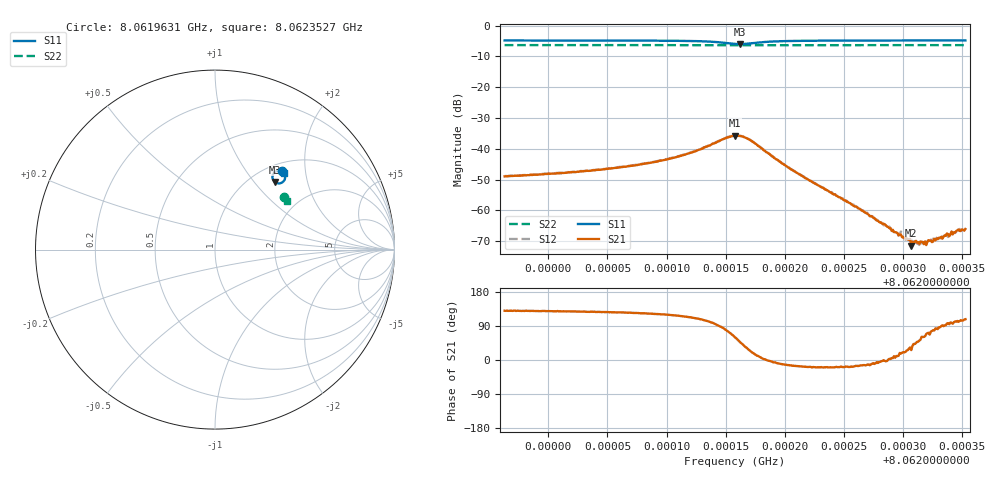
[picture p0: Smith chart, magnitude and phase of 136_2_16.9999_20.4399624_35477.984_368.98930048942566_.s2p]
#  HZ  S  RI  R  50.00
! Rohde & Schwarz Vector Network Analyzer
! Rohde-Schwarz,ZNB20-2Port,1311601062101988,3.16
! Created: UTC 3/20/2024, 10:58:09 PM
! freq[Hz]  re:S11  im:S11  re:S21  im:S21  re:S12  im:S12  re:S22  im:S22
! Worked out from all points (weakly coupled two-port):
!   401 points, 8.0619631 GHz to 8.0623527 GHz, reference 50 ohm
!   highest |S21| = -35.68 dB at 8.0621579 GHz (marker M1); lowest = -71.4 dB at 8.0623069 GHz (marker M2)
!   lowest |S11| = -6.0 dB at 8.0621618 GHz (marker M3), VSWR 3.02, Z = 63.5 + j64.2 ohm
!   |S11| at or under -10 dB: nowhere
!   |S22| runs from -6.4 to -6.3 dB; largest |S21 - S12| = 0.0012
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8.06196309e9  0.3738 0.4376  -0.00229 0.00274  -0.00214 0.00293  0.3868 0.2909
8.06202834e9  0.3798 0.4317  -0.00263 0.00341  -0.00246 0.00361  0.389 0.2876
8.06206535e9  0.3838 0.4267  -0.00294 0.00419  -0.00275 0.00443  0.3902 0.2856
8.0620936e9  0.3875 0.4201  -0.00328 0.00544  -0.00298 0.00571  0.3912 0.284
8.06212282e9  0.3911 0.4054  -0.00323 0.00834  -0.00273 0.00862  0.3921 0.282
8.06214911e9  0.3723 0.373  0.00212 0.0146  0.00314 0.0145  0.3915 0.2798
8.06215788e9  0.3452 0.3705  0.00826 0.0142  0.00922 0.0138  0.3906 0.2797
8.06216177e9  0.3324 0.3774  0.0107 0.0122  0.0116 0.0116  0.3903 0.2799
8.06217151e9  0.3203 0.4078  0.0126 0.00507  0.0129 0.00437  0.3906 0.2809
8.06219878e9  0.3494 0.4394  0.00553 -0.00112  0.00552 -0.00144  0.3931 0.2807
8.06222313e9  0.3634 0.439  0.00273 -0.000965  0.00275 -0.00109  0.3945 0.2792
8.06226501e9  0.3741 0.4352  0.000962 -0.000244  0.000947 -0.000322  0.3962 0.2769
8.06228839e9  0.3776 0.4333  0.000515 2.86e-05  0.000546 -1.55e-05  0.397 0.2757
8.0622991e9  0.3789 0.4324  0.000349 0.000121  0.0004 9.21e-05  0.3975 0.2752
8.06230202e9  0.3794 0.4322  0.00032 0.000125  0.000315 0.000119  0.3975 0.2751
8.06230397e9  0.3795 0.4322  0.000307 0.00015  0.000304 0.000141  0.3976 0.2749
8.06230689e9  0.3799 0.4318  0.000242 0.000118  0.000284 0.000189  0.3976 0.2749
8.06231176e9  0.3804 0.4315  0.000203 0.000225  0.0002 0.000171  0.3978 0.2746
8.06231761e9  0.381 0.4311  0.000137 0.000248  0.000175 0.000248  0.3981 0.2743
8.06232637e9  0.3819 0.4303  7.28e-05 0.000337  0.000112 0.000325  0.3984 0.2738
8.06234488e9  0.3836 0.4291  -9.05e-05 0.000453  -5.76e-05 0.000444  0.3988 0.2728
8.06235267e9  0.3844 0.4286  -0.000151 0.000476  -0.000134 0.000497  0.3991 0.2726
